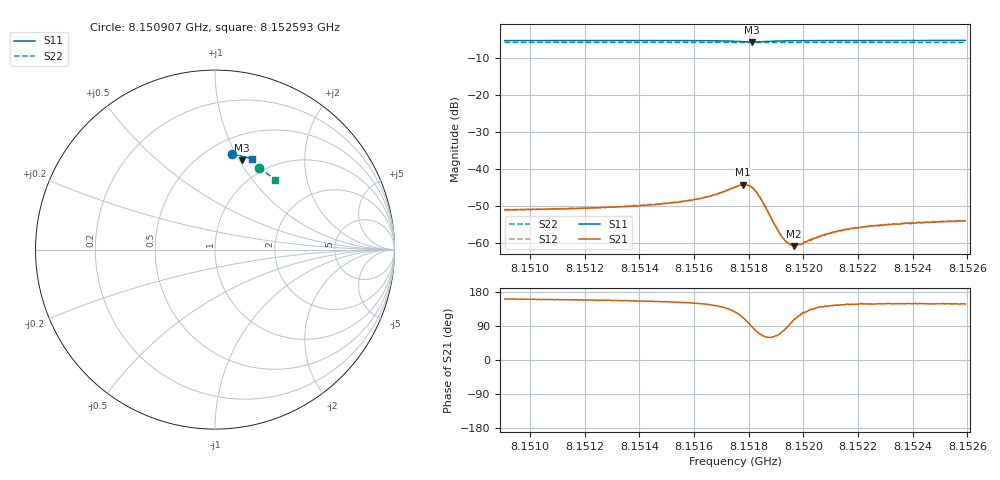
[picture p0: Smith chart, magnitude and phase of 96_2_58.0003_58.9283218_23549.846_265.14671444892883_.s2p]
#  HZ  S  RI  R  50.00
! Rohde & Schwarz Vector Network Analyzer
! Rohde-Schwarz,ZNB20-2Port,1311601062101988,3.16
! Created: UTC 3/21/2024, 12:54:36 AM
! freq[Hz]  re:S11  im:S11  re:S21  im:S21  re:S12  im:S12  re:S22  im:S22
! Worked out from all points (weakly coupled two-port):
!   401 points, 8.150907 GHz to 8.152593 GHz, reference 50 ohm
!   highest |S21| = -44.18 dB at 8.151779 GHz (marker M1); lowest = -60.7 dB at 8.151965 GHz (marker M2)
!   lowest |S11| = -5.7 dB at 8.151813 GHz (marker M3), VSWR 3.15, Z = 37.7 + j51.2 ohm
!   |S11| at or under -10 dB: nowhere
!   |S22| runs from -5.8 to -5.8 dB; largest |S21 - S12| = 0.00013
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8.1509069e9  0.0967 0.5339  -0.00268 0.000916  -0.00267 0.000981  0.2451 0.4523
8.1511893e9  0.1171 0.5302  -0.00278 0.00108  -0.00276 0.00115  0.2608 0.4429
8.1514717e9  0.1381 0.5251  -0.00301 0.00147  -0.00306 0.00153  0.2762 0.4331
8.1516276e9  0.1514 0.52  -0.00345 0.00214  -0.00344 0.00222  0.2845 0.4272
8.1516824e9  0.1568 0.5163  -0.00368 0.00275  -0.00367 0.00283  0.2874 0.425
8.1517498e9  0.162 0.5063  -0.00344 0.00457  -0.00341 0.00468  0.2908 0.4222
8.1517793e9  0.1596 0.4992  -0.00227 0.00575  -0.00221 0.00579  0.2922 0.421
8.1517962e9  0.1551 0.4963  -0.00102 0.00601  -0.000955 0.00606  0.2928 0.4205
8.151813e9  0.1493 0.4965  0.00032 0.00561  0.00039 0.00562  0.2934 0.42
8.1518257e9  0.1457 0.4988  0.0011 0.00491  0.00117 0.00494  0.2941 0.4197
8.1518425e9  0.1436 0.5036  0.00154 0.00375  0.00159 0.00379  0.2949 0.4192
8.1518973e9  0.1485 0.5141  0.000768 0.00154  0.000845 0.00156  0.298 0.4175
8.1519226e9  0.1521 0.5159  0.000317 0.00116  0.000321 0.00117  0.2993 0.4165
8.1519353e9  0.1538 0.5164  0.000131 0.00106  0.000139 0.00106  0.2999 0.416
8.1519479e9  0.1554 0.5168  -4.22e-05 0.000982  -5.08e-05 0.00101  0.3007 0.4158
8.1519648e9  0.1574 0.5168  -0.000246 0.000891  -0.000259 0.000938  0.3014 0.415
8.1519901e9  0.1602 0.5169  -0.000486 0.000828  -0.000492 0.000848  0.303 0.4141
8.1520322e9  0.1645 0.5166  -0.000782 0.000822  -0.000806 0.000831  0.3051 0.4124
8.1520701e9  0.1679 0.5162  -0.000972 0.000827  -0.000988 0.000833  0.3071 0.4107
8.1521502e9  0.1744 0.5147  -0.00124 0.000867  -0.00124 0.000841  0.3112 0.4076
8.1523146e9  0.1868 0.5111  -0.00154 0.000929  -0.00154 0.000978  0.3196 0.401
8.1525927e9  0.206 0.5045  -0.0017 0.00107  -0.0017 0.00111  0.333 0.3892
